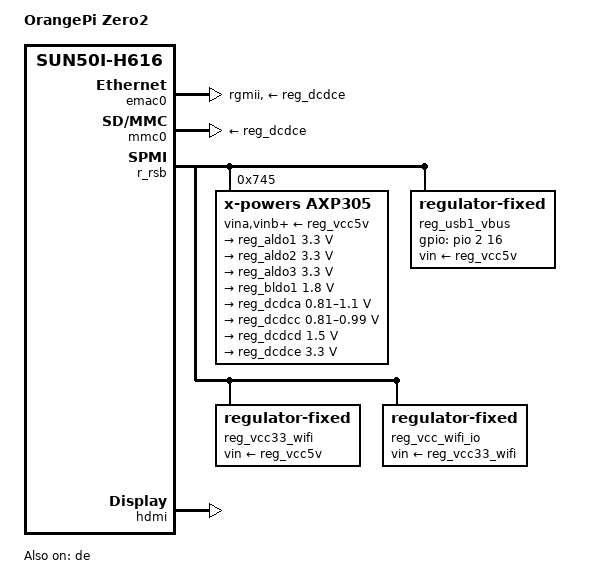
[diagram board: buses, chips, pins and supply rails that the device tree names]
// SPDX-License-Identifier: (GPL-2.0+ OR MIT)
/*
 * Copyright (C) 2020 Arm Ltd.
 */

/dts-v1/;

#include "sun50i-h616-orangepi-zero.dtsi"
#include "sun50i-h616-cpu-opp.dtsi"

/ {
	model = "OrangePi Zero2";
	compatible = "xunlong,orangepi-zero2", "allwinner,sun50i-h616";
};

&cpu0 {
	cpu-supply = <&reg_dcdca>;
};

&emac0 {
	allwinner,rx-delay-ps = <3100>;
	allwinner,tx-delay-ps = <700>;
	phy-mode = "rgmii";
	phy-supply = <&reg_dcdce>;
};

&mmc0 {
	vmmc-supply = <&reg_dcdce>;
};

&r_rsb {
	status = "okay";

	axp305: pmic@745 {
		compatible = "x-powers,axp305", "x-powers,axp805",
			     "x-powers,axp806";
		interrupt-controller;
		#interrupt-cells = <1>;
		reg = <0x745>;

		x-powers,self-working-mode;
		vina-supply = <&reg_vcc5v>;
		vinb-supply = <&reg_vcc5v>;
		vinc-supply = <&reg_vcc5v>;
		vind-supply = <&reg_vcc5v>;
		vine-supply = <&reg_vcc5v>;
		aldoin-supply = <&reg_vcc5v>;
		bldoin-supply = <&reg_vcc5v>;
		cldoin-supply = <&reg_vcc5v>;

		regulators {
			reg_aldo1: aldo1 {
				regulator-always-on;
				regulator-min-microvolt = <3300000>;
				regulator-max-microvolt = <3300000>;
				regulator-name = "vcc-sys";
			};

			reg_aldo2: aldo2 {	/* 3.3V on headers */
				regulator-always-on;
				regulator-min-microvolt = <3300000>;
				regulator-max-microvolt = <3300000>;
				regulator-name = "vcc3v3-ext";
			};

			reg_aldo3: aldo3 {	/* 3.3V on headers */
				regulator-always-on;
				regulator-min-microvolt = <3300000>;
				regulator-max-microvolt = <3300000>;
				regulator-name = "vcc3v3-ext2";
			};

			reg_bldo1: bldo1 {
				regulator-always-on;
				regulator-min-microvolt = <1800000>;
				regulator-max-microvolt = <1800000>;
				regulator-name = "vcc1v8";
			};

			bldo2 {
				/* unused */
			};

			bldo3 {
				/* unused */
			};

			bldo4 {
				/* unused */
			};

			cldo1 {
				/* reserved */
			};

			cldo2 {
				/* unused */
			};

			cldo3 {
				/* unused */
			};

			reg_dcdca: dcdca {
				regulator-always-on;
				regulator-min-microvolt = <810000>;
				regulator-max-microvolt = <1100000>;
				regulator-name = "vdd-cpu";
			};

			reg_dcdcc: dcdcc {
				regulator-always-on;
				regulator-min-microvolt = <810000>;
				regulator-max-microvolt = <990000>;
				regulator-name = "vdd-gpu-sys";
			};

			reg_dcdcd: dcdcd {
				regulator-always-on;
				regulator-min-microvolt = <1500000>;
				regulator-max-microvolt = <1500000>;
				regulator-name = "vdd-dram";
			};

			reg_dcdce: dcdce {
				regulator-always-on;
				regulator-min-microvolt = <3300000>;
				regulator-max-microvolt = <3300000>;
				regulator-name = "vcc-eth-mmc";
			};

			sw {
				/* unused */
			};
		};
	};

	reg_usb1_vbus: usb1-vbus {
		compatible = "regulator-fixed";
		regulator-name = "usb1-vbus";
		regulator-min-microvolt = <5000000>;
		regulator-max-microvolt = <5000000>;
		vin-supply = <&reg_vcc5v>;
		enable-active-high;
		gpio = <&pio 2 16 GPIO_ACTIVE_HIGH>; /* PC16 */
		status = "okay";
	};

	reg_vcc33_wifi: vcc33-wifi {
		/* Always on 3.3V regulator for WiFi and BT */
		compatible = "regulator-fixed";
		regulator-name = "vcc33-wifi";
		regulator-min-microvolt = <3300000>;
		regulator-max-microvolt = <3300000>;
		regulator-always-on;
		vin-supply = <&reg_vcc5v>;
	};

	reg_vcc_wifi_io: vcc-wifi-io {
		/* Always on 1.8V/300mA regulator for WiFi and BT IO */
		compatible = "regulator-fixed";
		regulator-name = "vcc-wifi-io";
		regulator-min-microvolt = <1800000>;
		regulator-max-microvolt = <1800000>;
		regulator-always-on;
		vin-supply = <&reg_vcc33_wifi>;
	};

	wifi_pwrseq: wifi-pwrseq {
		compatible = "mmc-pwrseq-simple";
		clocks = <&rtc 1>;
		clock-names = "osc32k-out";
		reset-gpios = <&pio 6 18 GPIO_ACTIVE_LOW>; /* PG18 */
		post-power-on-delay-ms = <200>;
	};
};

&de {
	status = "okay";
};

&hdmi {
	hvcc-supply = <&reg_bldo1>;
	status = "okay";
};

&hdmi_out {
	hdmi_out_con: endpoint {
		remote-endpoint = <&hdmi_con_in>;
	};
};

&gpu {
	mali-supply = <&reg_dcdcc>;
	status = "disabled";
};

&pio {
	vcc-pc-supply = <&reg_aldo1>;
	vcc-pf-supply = <&reg_aldo1>;
	vcc-pg-supply = <&reg_bldo1>;
	vcc-ph-supply = <&reg_aldo1>;
	vcc-pi-supply = <&reg_aldo1>;
};
